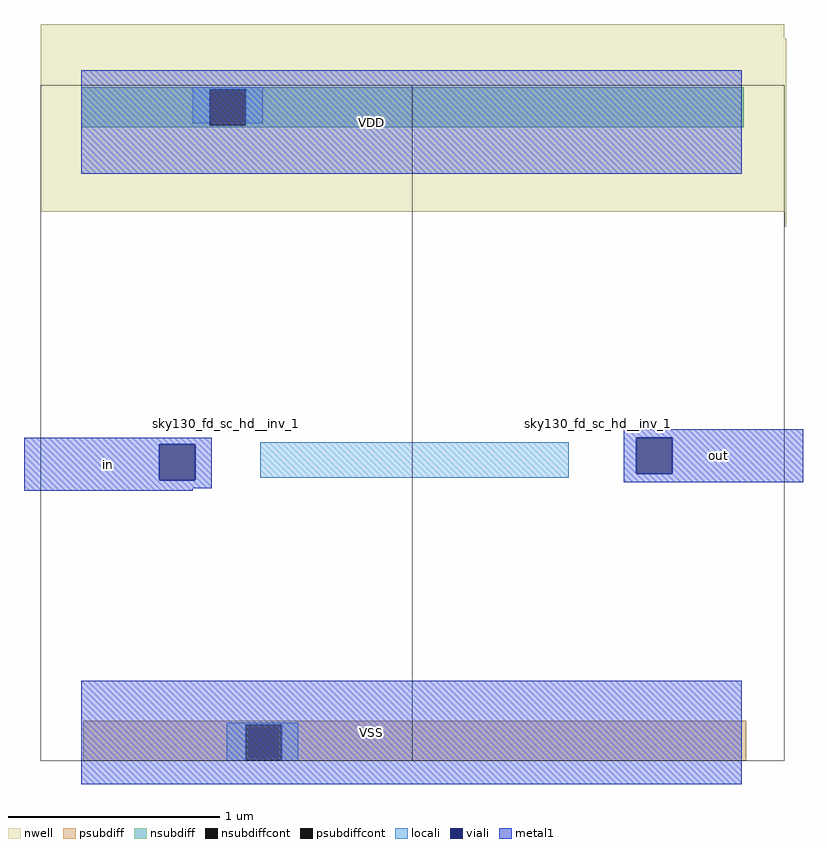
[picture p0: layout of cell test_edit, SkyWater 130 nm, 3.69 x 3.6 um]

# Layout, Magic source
magic
tech sky130A
<< nwell >>
rect -19 618 333 625
rect -19 536 334 618
rect 333 529 334 536
<< psubdiff >>
rect 1 293 315 295
rect 1 276 78 293
rect 95 276 315 293
<< nsubdiff >>
rect 0 594 314 595
rect 0 577 61 594
rect 78 577 314 594
rect 0 576 314 577
<< psubdiffcont >>
rect 78 276 95 293
<< nsubdiffcont >>
rect 61 577 78 594
<< locali >>
rect 53 594 86 595
rect 53 578 61 594
rect 78 578 86 594
rect 85 410 231 427
rect 69 293 103 294
rect 69 276 78 293
rect 95 276 103 293
<< viali >>
rect 37 409 54 426
rect 263 412 280 429
<< metal1 >>
rect 0 554 313 603
rect 257 429 342 433
rect -27 426 62 429
rect -27 409 37 426
rect 54 409 62 426
rect -27 405 62 409
rect 257 412 263 429
rect 280 412 342 429
rect 257 408 342 412
rect -27 404 53 405
rect 0 265 313 314
use sky130_fd_sc_hd__inv_1  x1 $PDKPATH/libs.ref/sky130_fd_sc_hd/mag
transform 1 0 0 0 1 300
box -19 -24 157 296
use sky130_fd_sc_hd__inv_1  x2
transform 1 0 176 0 1 300
box -19 -24 157 296
<< labels >>
flabel metal1 0 554 275 603 0 FreeSans 160 0 0 0 VDD
port 0 nsew
flabel metal1 0 265 275 314 0 FreeSans 160 0 0 0 VSS
port 1 nsew
flabel metal1 -27 404 53 429 0 FreeSans 160 0 0 0 in
port 2 nsew
flabel metal1 262 408 342 433 0 FreeSans 160 0 0 0 out
port 4 nsew
<< end >>
